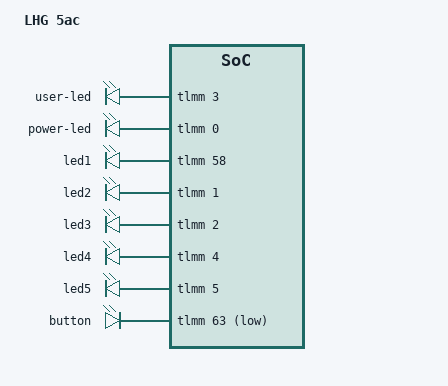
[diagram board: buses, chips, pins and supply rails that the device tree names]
/dts-v1/;
#include "ipq40xx.dtsi"

/ {
	model = "LHG 5ac";
	leds {
		compatible = "leds-rb";
		user-led {
			gpios = <&tlmm 3 GPIO_ACTIVE_HIGH>;
		};
		power-led {
			gpios = <&tlmm 0 GPIO_ACTIVE_HIGH>;
			default-state = "keep";
		};
		led1 {
			gpios = <&tlmm 58 GPIO_ACTIVE_HIGH>;
		};
		led2 {
			gpios = <&tlmm 1 GPIO_ACTIVE_HIGH>;
		};
		led3 {
			gpios = <&tlmm 2 GPIO_ACTIVE_HIGH>;
		};
		led4 {
			gpios = <&tlmm 4 GPIO_ACTIVE_HIGH>;
		};
		led5 {
			gpios = <&tlmm 5 GPIO_ACTIVE_HIGH>;
		};
		button {
			gpios = <&tlmm 63 GPIO_ACTIVE_LOW>;
			default-state = "input";
		};
	};
};

&edma {
	port_map = <4 (-1)>;
};
